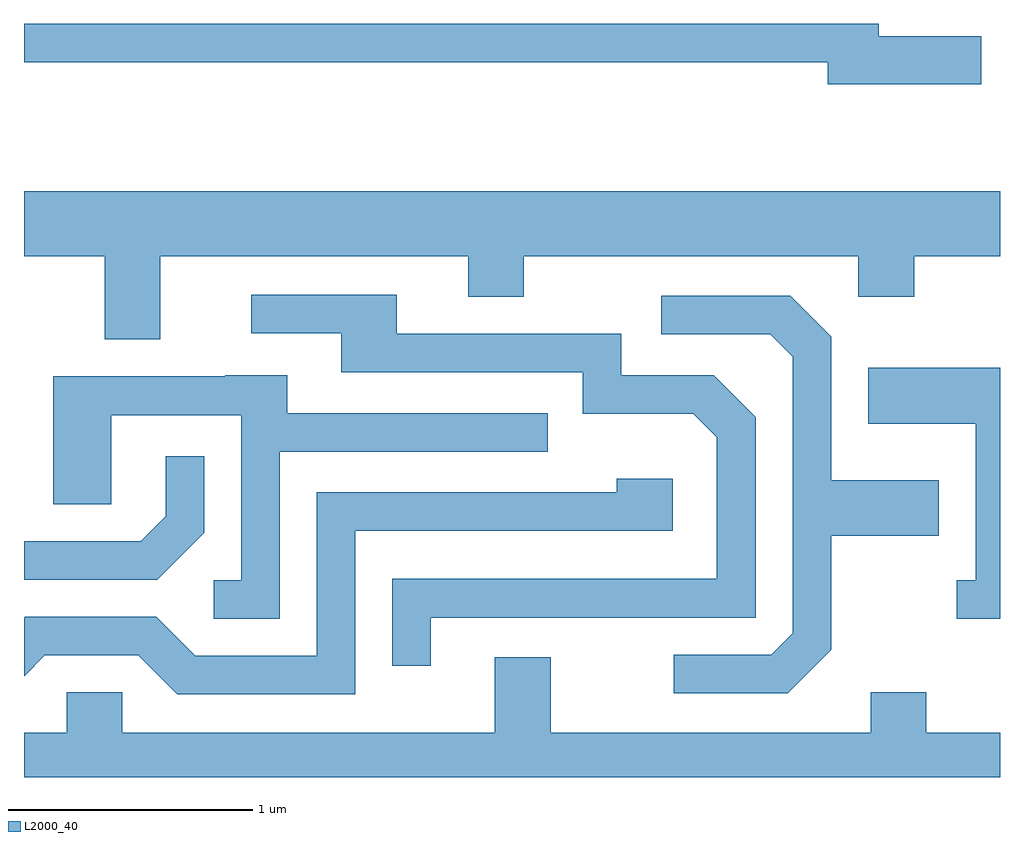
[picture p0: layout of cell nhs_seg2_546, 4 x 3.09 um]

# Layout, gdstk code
import gdstk
lib = gdstk.Library(unit=1e-6, precision=1e-09)
def P(c, l, *ps):  # polygons
    for p in ps: c.add(gdstk.Polygon(p, *l))
L2000_40 = (2000, 40)

nhs_seg2_546 = lib.new_cell('nhs_seg2_546')
P(nhs_seg2_546, L2000_40, [(205.534,984.839),(205.114,984.839),(205.114,984.889),(201.611,984.889),(201.611,984.731),(204.906,984.731),(204.906,984.641),(205.534,984.641)],
  [(202.169,983.936),(203.431,983.936),(203.431,983.771),(203.659,983.771),(203.659,983.936),(205.031,983.936),(205.031,983.771),(205.259,983.771),(205.259,983.936),(205.611,983.936),(205.611,984.204),(201.611,984.204),(201.611,983.936),(201.941,983.936),(201.941,983.596),(202.169,983.596)],
  [(203.279,982.456),(204.609,982.456),(204.609,983.277),(204.437,983.449),(204.059,983.449),(204.059,983.619),(203.139,983.619),(203.139,983.779),(202.543,983.779),(202.543,983.621),(202.911,983.621),(202.911,983.461),(203.901,983.461),(203.901,983.291),(204.354,983.291),(204.451,983.194),(204.451,982.614),(203.121,982.614),(203.121,982.258),(203.279,982.258)],
  [(204.919,982.324),(204.919,982.791),(205.359,982.791),(205.359,983.019),(204.919,983.019),(204.919,983.607),(204.752,983.774),(204.223,983.774),(204.223,983.616),(204.669,983.616),(204.761,983.524),(204.761,982.392),(204.674,982.304),(204.273,982.304),(204.273,982.146),(204.742,982.146)],
  [(205.611,983.479),(205.071,983.479),(205.071,983.251),(205.511,983.251),(205.511,982.609),(205.433,982.609),(205.433,982.451),(205.611,982.451)],
  [(202.659,983.136),(203.758,983.136),(203.758,983.294),(202.689,983.294),(202.689,983.449),(202.435,983.449),(202.435,983.444),(201.731,983.444),(201.731,982.921),(201.969,982.921),(201.969,983.286),(202.501,983.286),(202.501,982.609),(202.388,982.609),(202.388,982.451),(202.659,982.451)],
  [(202.349,982.804),(202.349,983.118),(202.191,983.118),(202.191,982.872),(202.089,982.769),(201.611,982.769),(201.611,982.611),(202.157,982.611)],
  [(202.969,982.811),(204.269,982.811),(204.269,983.024),(204.041,983.024),(204.041,982.969),(202.811,982.969),(202.811,982.299),(202.312,982.299),(202.152,982.459),(201.614,982.459),(201.611,982.456),(201.611,982.215),(201.697,982.301),(202.079,982.301),(202.239,982.141),(202.969,982.141)],
  [(205.611,981.984),(205.309,981.984),(205.309,982.149),(205.081,982.149),(205.081,981.984),(203.769,981.984),(203.769,982.294),(203.541,982.294),(203.541,981.984),(202.014,981.984),(202.014,982.149),(201.786,982.149),(201.786,981.984),(201.611,981.984),(201.611,981.802),(205.611,981.802)])

lib.write_gds('nhs_seg2_546.gds')
